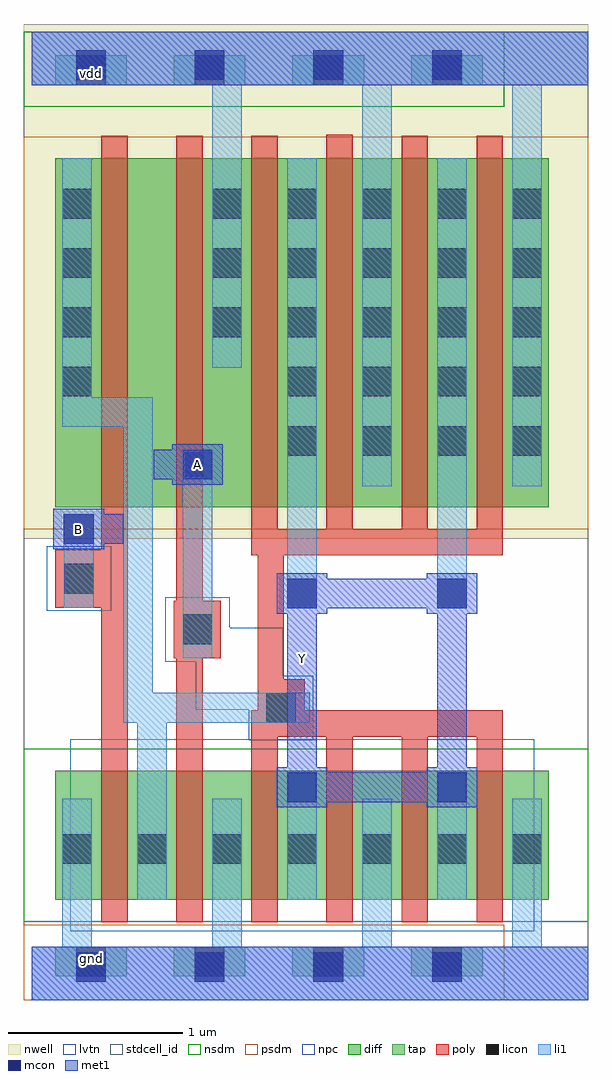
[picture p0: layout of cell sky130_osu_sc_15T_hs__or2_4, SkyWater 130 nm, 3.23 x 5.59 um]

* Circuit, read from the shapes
.subckt sky130_osu_sc_15T_hs__or2_4 A B Y gnd vdd
XM1 n1 B gnd gnd sky130_fd_pr__nfet_01v8_lvt w=0.74 l=0.15
XM2 gnd A n1 gnd sky130_fd_pr__nfet_01v8_lvt w=0.74 l=0.15
XM3 Y n1 gnd gnd sky130_fd_pr__nfet_01v8_lvt w=0.74 l=0.15 m=4
XM4 n2 B n1 vdd sky130_fd_pr__pfet_01v8 w=2 l=0.15
XM5 vdd A n2 vdd sky130_fd_pr__pfet_01v8 w=2 l=0.15
XM6 Y n1 vdd vdd sky130_fd_pr__pfet_01v8 w=2 l=0.15 m=4
.ends

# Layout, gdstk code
import gdstk
lib = gdstk.Library(unit=1e-6, precision=1e-09)
def R(c, l, rs):  # rectangles x0, y0, x1, y1
    for r in rs: c.add(gdstk.rectangle(r[:2], r[2:], *l))
def A(c, l, x, y, w, h, nx, ny, dx, dy):  # array of equal rectangles
    R(c, l, [(x+i*dx, y+j*dy, x+i*dx+w, y+j*dy+h) for i in range(nx) for j in range(ny)])
nwell = (64, 20)
diff = (65, 20)
tap = (65, 44)
poly = (66, 20)
licon = (66, 44)
li1 = (67, 20)
mcon = (67, 44)
met1 = (68, 20)
stdcell_id = (81, 4)
nsdm = (93, 44)
psdm = (94, 20)
npc = (95, 20)
lvtn = (125, 44)

sky130_osu_sc_15t_hs__or = lib.new_cell('sky130_osu_sc_15T_hs__or2_4')
R(sky130_osu_sc_15t_hs__or, nwell, [(-0.045,2.645,3.19,5.595)])
R(sky130_osu_sc_15t_hs__or, diff, [(0.135,0.575,2.965,1.315), (0.135,2.825,2.965,4.825)])
A(sky130_osu_sc_15t_hs__or, tap, 0.135, 0.135, 0.41, 0.17, 4, 2, 0.68, 5.11)
A(sky130_osu_sc_15t_hs__or, poly, 1.26, 0.445, 0.15, 1.065, 4, 1, 0.43, 0)
R(sky130_osu_sc_15t_hs__or, poly, [(0.4,0.445,0.55,2.25), (0.83,0.445,0.98,1.96), (1.26,1.51,2.7,1.66), (1.295,1.66,1.565,1.84), (1.295,1.84,1.445,2.55), (0.815,1.96,1.085,2.29), (0.135,2.25,0.55,2.58), (0.83,2.29,0.98,4.955), (1.26,2.55,2.7,2.7), (0.4,2.58,0.55,4.955), (1.26,2.7,1.41,4.955), (1.69,2.7,1.84,4.96), (2.12,2.7,2.27,4.955), (2.55,2.7,2.7,4.955)])
A(sky130_osu_sc_15t_hs__or, licon, 0.255, 0.135, 0.17, 0.17, 4, 2, 0.68, 5.11)
A(sky130_osu_sc_15t_hs__or, licon, 0.175, 0.78, 0.17, 0.17, 7, 1, 0.43, 0)
A(sky130_osu_sc_15t_hs__or, licon, 1.465, 3.12, 0.17, 0.17, 4, 2, 0.43, 0.34)
A(sky130_osu_sc_15t_hs__or, licon, 0.175, 3.46, 0.17, 0.17, 1, 4, 0, 0.34)
A(sky130_osu_sc_15t_hs__or, licon, 1.035, 3.8, 0.17, 0.17, 5, 3, 0.43, 0.34)
R(sky130_osu_sc_15t_hs__or, licon, [(1.345,1.59,1.515,1.76), (0.865,2.04,1.035,2.21), (0.185,2.33,0.355,2.5)])
A(sky130_osu_sc_15t_hs__or, li1, 0.175, 0.305, 0.17, 0.85, 4, 1, 0.86, 0)
R(sky130_osu_sc_15t_hs__or, li1, [(0,0,3.19,0.305), (0.605,0.575,0.775,1.59), (1.465,0.575,1.635,1.305), (2.325,0.575,2.495,1.305), (0.525,1.59,1.595,1.76), (0.525,1.76,0.695,3.285), (0.865,1.96,1.035,3.155), (1.465,2.245,1.635,4.825), (2.325,2.245,2.495,4.825), (0.185,2.25,0.355,2.785), (1.895,2.945,2.065,5.245), (2.755,2.945,2.925,5.245), (0.175,3.285,0.695,3.455), (0.175,3.455,0.345,4.825), (1.035,3.625,1.205,5.245), (0,5.245,3.19,5.55)])
A(sky130_osu_sc_15t_hs__or, mcon, 0.255, 0.105, 0.17, 0.17, 4, 2, 0.68, 5.17)
R(sky130_osu_sc_15t_hs__or, mcon, [(1.465,1.135,1.635,1.305), (2.325,1.135,2.495,1.305), (1.465,2.245,1.635,2.415), (2.325,2.245,2.495,2.415), (0.185,2.615,0.355,2.785), (0.865,2.985,1.035,3.155)])
R(sky130_osu_sc_15t_hs__or, met1, [(0,0,3.19,0.305), (1.405,1.105,1.695,1.135), (2.265,1.105,2.555,1.135), (1.405,1.135,2.555,1.305), (1.405,1.305,1.695,1.335), (2.265,1.305,2.555,1.335), (1.465,1.335,1.635,2.215), (2.325,1.335,2.495,2.215), (1.405,2.215,1.695,2.245), (2.265,2.215,2.555,2.245), (1.405,2.245,2.555,2.415), (1.405,2.415,1.695,2.445), (2.265,2.415,2.555,2.445), (0.125,2.585,0.415,2.615), (0.125,2.615,0.525,2.785), (0.125,2.785,0.415,2.815), (0.805,2.955,1.095,2.985), (0.7,2.985,1.095,3.155), (0.805,3.155,1.095,3.185), (0,5.245,3.19,5.55)])
R(sky130_osu_sc_15t_hs__or, stdcell_id, [(-0.045,0,3.19,5.55)])
R(sky130_osu_sc_15t_hs__or, nsdm, [(-0.045,0.45,3.19,1.44), (-0.045,5.12,2.71,5.55)])
R(sky130_osu_sc_15t_hs__or, psdm, [(-0.045,0,2.71,0.43), (-0.045,2.7,3.19,4.95)])
R(sky130_osu_sc_15t_hs__or, npc, [(1.245,1.49,1.615,1.665), (0.94,1.665,1.615,1.86), (0.94,1.86,1.44,1.94), (0.765,1.94,1.44,2.135), (0.765,2.135,1.135,2.31), (0.085,2.23,0.455,2.6)])
R(sky130_osu_sc_15t_hs__or, lvtn, [(0.22,0.395,2.88,1.495)])
sky130_osu_sc_15t_hs__or.add(gdstk.Label('gnd', (0.34,0.24), layer=68, texttype=16))
sky130_osu_sc_15t_hs__or.add(gdstk.Label('vdd', (0.34,5.31), layer=68, texttype=16))
sky130_osu_sc_15t_hs__or.add(gdstk.Label('Y', (1.555,1.96), layer=68, texttype=5))
sky130_osu_sc_15t_hs__or.add(gdstk.Label('A', (0.95,3.07), layer=68, texttype=5))
sky130_osu_sc_15t_hs__or.add(gdstk.Label('B', (0.27,2.7), layer=68, texttype=5))

lib.write_gds('sky130_osu_sc_15T_hs__or2_4.gds')
